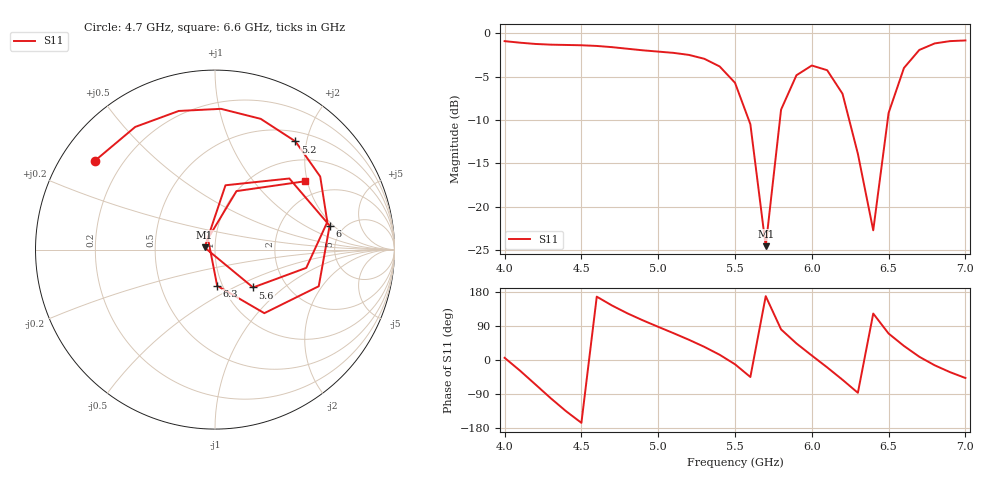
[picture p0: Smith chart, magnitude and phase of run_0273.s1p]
! Touchstone file exported from HFSS 2024.2.0
!  File:  C:/Users/wsak9/Desktop/Sim Fast/Widenad Patch/WP_AI_V1_sweep.aedt
!  Generated:  02:29:34 AM Oct 14, 2026
!  Design:  A1_model
!  Project:  WP_AI_V1_sweep
!  Setup:  Setup1
!  Solution:  Sweep
! Variables:
!  Air_gap = 3.51mm
!  Curve_Amp1 = 3.31
!  Curve_len1 = 1
!  Curve_pos = 10.61mm
!  Extra = 0.79mm
!  H_sub = 0.79mm
!  L_Patch = 17.22mm
!  L_Patch1 = 14.28mm
!  Sx = 1.03mm
!  Sy = 0.42mm
!  WS = 1.26mm
!  W_Patch = 11.68mm
!  W_Patch1 = 13.49mm
!Data is not renormalized
# GHz S MA
! Terminal data exported
! Port[1] = 1
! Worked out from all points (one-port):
!   31 points, 4 GHz to 7 GHz, reference per port
!   lowest |S11| = -24.6 dB at 5.7 GHz (marker M1), VSWR 1.13
!   |S11| at or under -10 dB: 5.59 GHz to 5.792 GHz (202.5 MHz wide, 3.56 % of centre); 6.244 GHz to 6.494 GHz (250.2 MHz wide, 3.93 % of centre)
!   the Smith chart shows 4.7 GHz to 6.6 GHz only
!   S11 on the Smith chart (normalised r, x): 4.7 GHz: 0.10, +0.33; 5.2 GHz: 0.65, +1.81; 5.6 GHz: 1.37, -0.63; 6 GHz: 3.87, +1.80; 6.3 GHz: 0.94, -0.40; 6.6 GHz: 1.54, +1.95
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4  0.902 5.8
4.1  0.8838 -28.0
4.2  0.869 -64.3
4.3  0.8608 -100.8
4.4  0.8574 -135.1
4.5  0.854 -165.9
4.6  0.8462 167.1
4.7  0.8327 143.6
4.8  0.8153 123.0
5  0.7849 87.6
5.2  0.7512 53.4
5.3  0.7136 34.8
5.4  0.6445 13.8
5.5  0.5186 -11.3
5.6  0.2992 -44.9
5.7  0.05915 168.5
5.8  0.3631 80.7
5.9  0.5731 43.7
6  0.6525 11.8
6.1  0.613 -19.5
6.2  0.4483 -52.2
6.3  0.2019 -86.6
6.4  0.07303 122.5
6.5  0.3473 69.8
6.6  0.6315 37.1
6.7  0.8024 8.5
6.8  0.875 -14.0
7  0.9102 -47.5
